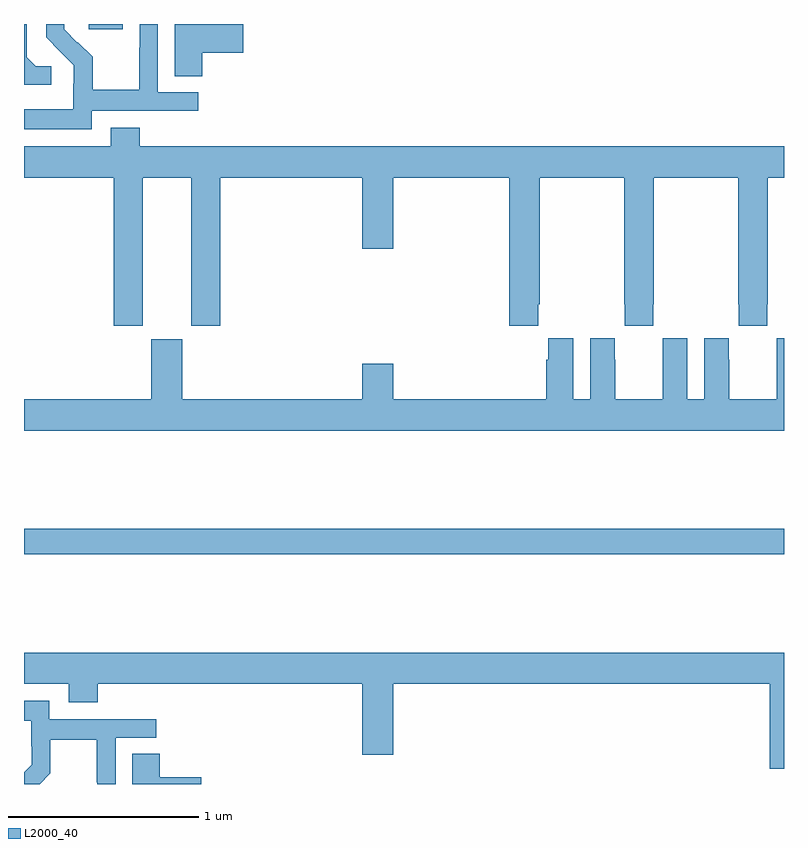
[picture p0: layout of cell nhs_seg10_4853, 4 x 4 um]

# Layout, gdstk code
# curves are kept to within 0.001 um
import gdstk
lib = gdstk.Library(unit=1e-6, precision=1e-09)
def R(c, l, rs):  # rectangles x0, y0, x1, y1
    for r in rs: c.add(gdstk.rectangle(r[:2], r[2:], *l))
def P(c, l, *ps):  # polygons
    for p in ps: c.add(gdstk.Polygon(p, *l))
L2000_40 = (2000, 40)

nhs_seg10_4853 = lib.new_cell('nhs_seg10_4853')
R(nhs_seg10_4853, L2000_40, [(391,1255.708,395,1255.844), (391.34,1258.473,391.519,1258.5)])
P(nhs_seg10_4853, L2000_40, [(391.937,1258.349),(392.155,1258.349),(392.155,1258.5),(391.793,1258.5),(391.793,1258.225),(391.937,1258.225)],
  [(391.356,1258.044),(391.918,1258.044),(391.918,1258.14),(391.704,1258.14),(391.704,1258.5),(391.608,1258.5),(391.608,1258.376),(391.606,1258.376),(391.606,1258.153),(391.361,1258.153),(391.361,1258.327),(391.284,1258.404),(391.281,1258.401),(391.211,1258.472),(391.211,1258.5),(391.116,1258.5),(391.116,1258.43),(391.262,1258.282),(391.262,1258.185),(391.26,1258.185),(391.26,1258.051),(391,1258.051),(391,1257.947),(391.356,1257.947)],
  [(391.144,1258.278),(391.062,1258.278),(391.015,1258.325),(391.015,1258.5),(391,1258.5),(391,1258.181),(391.144,1258.181)],
  [(391.624,1257.692),(391.88,1257.692),(391.88,1256.913),(392.033,1256.913),(392.033,1257.692),(392.78,1257.692),(392.78,1257.318),(392.944,1257.318),(392.944,1257.692),(393.554,1257.692),(393.554,1256.913),(393.707,1256.913),(393.707,1257.025),(393.714,1257.025),(393.714,1257.692),(394.159,1257.692),(394.159,1257.025),(394.161,1257.025),(394.161,1256.913),(394.311,1256.913),(394.311,1257.025),(394.314,1257.025),(394.314,1257.692),(394.759,1257.692),(394.759,1257.025),(394.761,1257.025),(394.761,1256.913),(394.911,1256.913),(394.911,1257.025),(394.914,1257.025),(394.914,1257.692),(395,1257.692),(395,1257.856),(391.61,1257.856),(391.61,1257.955),(391.457,1257.955),(391.457,1257.856),(391,1257.856),(391,1257.692),(391.472,1257.692),(391.472,1256.913),(391.624,1256.913)],
  [(395,1256.845),(394.962,1256.845),(394.962,1256.732),(394.961,1256.732),(394.961,1256.524),(394.711,1256.524),(394.711,1256.732),(394.71,1256.732),(394.71,1256.845),(394.58,1256.845),(394.58,1256.524),(394.492,1256.524),(394.492,1256.845),(394.362,1256.845),(394.362,1256.732),(394.361,1256.732),(394.361,1256.524),(394.111,1256.524),(394.111,1256.732),(394.11,1256.732),(394.11,1256.845),(393.98,1256.845),(393.98,1256.524),(393.892,1256.524),(393.892,1256.845),(393.758,1256.845),(393.758,1256.732),(393.749,1256.732),(393.749,1256.524),(392.944,1256.524),(392.944,1256.713),(392.78,1256.713),(392.78,1256.524),(391.834,1256.524),(391.834,1256.841),(391.67,1256.841),(391.67,1256.524),(391,1256.524),(391,1256.36),(395,1256.36)],
  [(395,1255.192),(391,1255.192),(391,1255.028),(391.235,1255.028),(391.235,1254.929),(391.388,1254.929),(391.388,1255.028),(392.78,1255.028),(392.78,1254.654),(392.944,1254.654),(392.944,1255.028),(394.926,1255.028),(394.926,1254.579),(395,1254.579)],
  [(391.139,1254.557),(391.139,1254.732),(391.384,1254.732),(391.384,1254.508),(391.386,1254.508),(391.386,1254.5),(391.482,1254.5),(391.482,1254.744),(391.696,1254.744),(391.696,1254.84),(391.134,1254.84),(391.134,1254.937),(391,1254.937),(391,1254.833),(391.038,1254.833),(391.038,1254.699),(391.04,1254.699),(391.04,1254.602),(391,1254.562),(391,1254.5),(391.082,1254.5)],
  [(391.933,1254.536),(391.715,1254.536),(391.715,1254.659),(391.571,1254.659),(391.571,1254.5),(391.933,1254.5)])

lib.write_gds('nhs_seg10_4853.gds')
